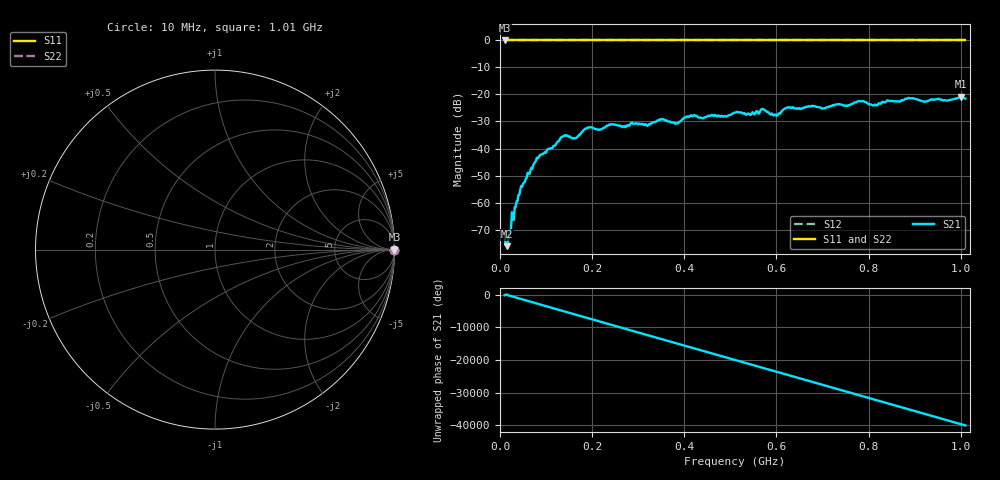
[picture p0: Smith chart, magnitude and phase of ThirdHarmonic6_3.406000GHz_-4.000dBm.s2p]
! 8/17/2025 10:53:26 AM
! C:\ANRITSUVNA\TEMP\TEMP.S2P
! CHANNEL.1
! TR.MEASUREMENT
! RAW.DATA
! RF.CORRECTION.OFF
! AVERAGING.OFF
! IF.BANDWIDTH: 5KHZ
! SWEEPTYPE:  FREQ.SWEEP(Linear)
! Reference Plane Port Info
! PORT:  PORT1  PORT2
! DISTANCE:  0  m  0  m
! TIME:  0  s  0  s
! PHASE.OFFSET:  0  deg.  0  deg.
! LOSS:  0  dB  0  dB
! REF.LOSS:  0  dB  0  dB
! REF.FREQ:  0  Hz  0  Hz
! Power Info
! POWER:  -20  dBm  -20  dBm
! EFF.POWER:  -20  dBm  -20  dBm
! SOURCE.ATTEN:  0  dB  0  dB
! TEST.ATTEN:  0  dB  0  dB
# GHZ S RI R 50.0
! FREQ.GHZ  S11RE  S11IM  S21RE  S21IM  S12RE  S12IM  S22RE  S22IM
!; PortSelection: Port_12
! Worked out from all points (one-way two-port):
!   501 points, 10 MHz to 1.01 GHz, reference 50 ohm
!   highest |S21| = -20.87 dB at 1 GHz (marker M1); lowest = -76.2 dB at 16 MHz (marker M2)
!   lowest |S11| = 0.0 dB at 10 MHz (marker M3)
!   |S11| at or under -10 dB: nowhere
!   |S22| runs from 0.0 to 0.0 dB; largest |S21 - S12| = 1.1
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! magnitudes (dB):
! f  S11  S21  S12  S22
! 10 MHz  0.0  -71.3  0.0  0.0
! 16 MHz  0.0  -76.2  0.0  0.0
! 44 MHz  0.0  -55.2  0.0  0.0
! 78 MHz  0.0  -44.6  0.0  0.0
! 136 MHz  0.0  -35.6  0.0  0.0
! 162 MHz  0.0  -36.3  0.0  0.0
! 178 MHz  0.0  -33.8  0.0  0.0
! 194 MHz  0.0  -32.1  0.0  0.0
! 322 MHz  0.0  -31.3  0.0  0.0
! 344 MHz  0.0  -29.6  0.0  0.0
! 384 MHz  0.0  -30.6  0.0  0.0
! 416 MHz  0.0  -27.9  0.0  0.0
! 510 MHz  0.0  -26.7  0.0  0.0
! 570 MHz  0.0  -25.4  0.0  0.0
! 598 MHz  0.0  -27.5  0.0  0.0
! 622 MHz  0.0  -24.9  0.0  0.0
! 678 MHz  0.0  -24.1  0.0  0.0
! 782 MHz  0.0  -22.5  0.0  0.0
! 814 MHz  0.0  -23.7  0.0  0.0
! 844 MHz  0.0  -22.4  0.0  0.0
! 1 GHz  0.0  -20.9  0.0  0.0
! 1.01 GHz  0.0  -21.5  0.0  0.0
